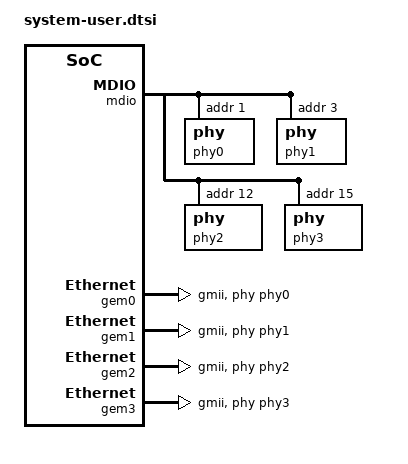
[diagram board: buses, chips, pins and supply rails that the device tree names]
/include/ "system-conf.dtsi"
/include/ "openamp-overlay.dtsi"
/ {

    mdio {
        compatible = "cdns,macb-mdio";
        reg = <0x0 0xff0b0000 0x0 0x1000>;
        clocks = <&clk 31>, <&clk 49>, <&clk 45>;
        clock-names = "pclk", "hclk", "tx_clk";
        #address-cells = <1>;
        #size-cells = <0>;
        phy0: phy@1 {
            device_type = "ethernet-phy";
            reg = <0x1>;
            ti,rx-internal-delay = <0x8>;
            ti,tx-internal-delay = <0xa>;
            ti,fifo-depth = <0x1>;
        };
        phy1: phy@3 {
            device_type = "ethernet-phy";
            reg = <0x3>;
            ti,rx-internal-delay = <0x8>;
            ti,tx-internal-delay = <0xa>;
            ti,fifo-depth = <0x1>;
        };
        phy2: phy@12 {
            device_type = "ethernet-phy";
            reg = <0xc>;
            ti,rx-internal-delay = <0x8>;
            ti,tx-internal-delay = <0xa>;
            ti,fifo-depth = <0x1>;
        };
        phy3: phy@15 {
            device_type = "ethernet-phy";
            reg = <0xf>;
            ti,rx-internal-delay = <0x8>;
            ti,tx-internal-delay = <0xa>;
            ti,fifo-depth = <0x1>;
            ti,dp83867-sgmii-autoneg-dis;
            ti,dp83867-sgmii-clk-en;
        };
    };
};

    &gem0 {
        local-mac-address = [00 0a 35 00 01 22];
        phy-handle = <&phy0>;
        phy-mode = "gmii";
        status = "okay";
        phy-reset-gpio = <&gpio 416 1>;
        phy-reset-active-low;
    };  
      
    &gem1 {
        local-mac-address = [00 0a 35 00 01 23];
        phy-handle = <&phy1>;
        phy-mode = "gmii";
        status = "okay";
        phy-reset-gpio = <&gpio 417 1>;
        phy-reset-active-low;
    };  
      
    &gem2 {
        local-mac-address = [00 0a 35 00 01 24];
        phy-handle = <&phy2>;
        phy-mode = "gmii";
        status = "okay";
        phy-reset-gpio = <&gpio 418 1>;
        phy-reset-active-low;
    };  
      
    &gem3 {
        local-mac-address = [00 0a 35 00 01 25];
        phy-handle = <&phy3>;
        phy-mode = "gmii";
        status = "okay";
        phy-reset-gpio = <&gpio 419 1>;
        phy-reset-active-low;
    };  
      

